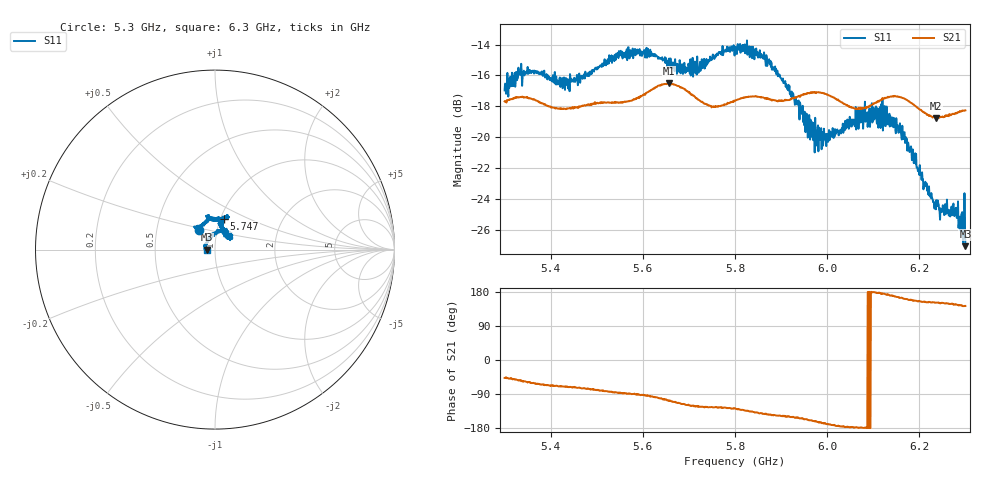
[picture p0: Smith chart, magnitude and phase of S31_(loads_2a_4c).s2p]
! NanoVNA-App
! Date: 2026-11-04 22:30:15
! Start: 5,3GHz Stop: 6,3GHz Points: 1001
! S-Parameter data: F S11 S21 S12 S22
# Hz S RI R 50
!  Frequency  S11_Real  S11_Imag  S21_Real  S21_Imag  S12_Real  S12_Imag  S22_Real  S22_Imag
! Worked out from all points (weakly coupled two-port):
!   1001 points, 5.3 GHz to 6.3 GHz, reference 50 ohm
!   highest |S21| = -16.52 dB at 5.657 GHz (marker M1); lowest = -18.8 dB at 6.237 GHz (marker M2)
!   lowest |S11| = -27.0 dB at 6.3 GHz (marker M3), VSWR 1.09, Z = 45.7 - j0.0306 ohm
!   |S11| at or under -10 dB: start of sweep to end of sweep
!   S12 and S22 are empty: the file has one direction only
!   S11 on the Smith chart (normalised r, x): 5.3 GHz: 0.82, +0.18; 5.747 GHz: 1.04, +0.37; 6.3 GHz: 0.91, -0.00
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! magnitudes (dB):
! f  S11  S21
! 5.3 GHz  -17.0  -17.7
! 5.352 GHz  -15.6  -17.5
! 5.436 GHz  -16.6  -18.1
! 5.467 GHz  -16.0  -18.0
! 5.547 GHz  -14.9  -17.8
! 5.634 GHz  -14.8  -16.7
! 5.657 GHz  -14.9  -16.5
! 5.712 GHz  -15.6  -17.4
! 5.747 GHz  -15.0  -18.0
! 5.8 GHz  -14.5  -17.6
! 5.831 GHz  -14.1  -17.4
! 5.873 GHz  -15.1  -17.5
! 5.967 GHz  -19.2  -17.1
! 6.001 GHz  -20.3  -17.2
! 6.063 GHz  -19.5  -18.2
! 6.105 GHz  -18.1  -17.8
! 6.134 GHz  -19.2  -17.4
! 6.168 GHz  -19.7  -17.5
! 6.237 GHz  -24.0  -18.8
! 6.279 GHz  -24.6  -18.4
! 6.294 GHz  -26.0  -18.3
! 6.3 GHz  -27.0  -18.3
